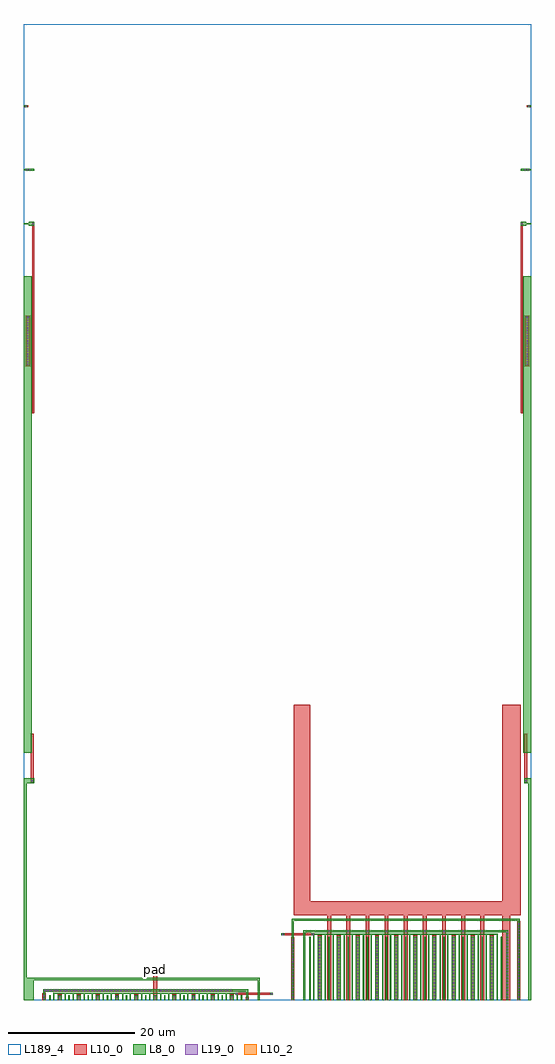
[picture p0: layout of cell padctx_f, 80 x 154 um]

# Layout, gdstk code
import gdstk
lib = gdstk.Library(unit=1e-6, precision=1e-09)
def R(c, l, rs):  # rectangles x0, y0, x1, y1
    for r in rs: c.add(gdstk.rectangle(r[:2], r[2:], *l))
def A(c, l, x, y, w, h, nx, ny, dx, dy):  # array of equal rectangles
    R(c, l, [(x+i*dx, y+j*dy, x+i*dx+w, y+j*dy+h) for i in range(nx) for j in range(ny)])
def P(c, l, *ps):  # polygons
    for p in ps: c.add(gdstk.Polygon(p, *l))
L8_0 = (8, 0)
L10_0 = (10, 0)
L10_2 = (10, 2)
L19_0 = (19, 0)
L189_4 = (189, 4)

padctx_f = lib.new_cell('padctx_f')
A(padctx_f, L8_0, 3.995, 26, 0.21, 0.73, 11, 1, 3.02, 0)
A(padctx_f, L8_0, 5.3, 26, 0.62, 0.73, 10, 1, 3.02, 0)
A(padctx_f, L8_0, 45.025, 26, 0.21, 9.98, 11, 1, 3.02, 0)
A(padctx_f, L8_0, 46.33, 26, 0.62, 9.98, 10, 1, 3.02, 0)
R(padctx_f, L8_0, [(38.82,26.83,39.28,27.13), (40.62,36.2,41.08,36.5), (0,65,1.2,140.17), (78.8,65,80,140.17)])
P(padctx_f, L8_0, [(4.64,26),(4.64,27.11),(33.3,27.11),(33.3,27.15),(33.76,27.15),(33.76,26),(33.6,26),(33.6,26.8),(33.3,26.8),(33.3,26.95),(31.98,26.95),(31.98,26),(31.82,26),(31.82,26.95),(30.74,26.95),(30.74,26),(30.58,26),(30.58,26.95),(28.96,26.95),(28.96,26),(28.8,26),(28.8,26.95),(27.72,26.95),(27.72,26),(27.56,26),(27.56,26.95),(25.94,26.95),(25.94,26),(25.78,26),(25.78,26.95),(24.7,26.95),(24.7,26),(24.54,26),(24.54,26.95),(22.92,26.95),(22.92,26),(22.76,26),(22.76,26.95),(21.68,26.95),(21.68,26),(21.52,26),(21.52,26.95),(19.9,26.95),(19.9,26),(19.74,26),(19.74,26.95),(18.66,26.95),(18.66,26),(18.5,26),(18.5,26.95),(16.88,26.95),(16.88,26),(16.72,26),(16.72,26.95),(15.64,26.95),(15.64,26),(15.48,26),(15.48,26.95),(13.86,26.95),(13.86,26),(13.7,26),(13.7,26.95),(12.62,26.95),(12.62,26),(12.46,26),(12.46,26.95),(10.84,26.95),(10.84,26),(10.68,26),(10.68,26.95),(9.6,26.95),(9.6,26),(9.44,26),(9.44,26.95),(7.82,26.95),(7.82,26),(7.66,26),(7.66,26.95),(6.58,26.95),(6.58,26),(6.42,26),(6.42,26.95),(4.8,26.95),(4.8,26)],
  [(3,26),(3,27.68),(35.4,27.68),(35.4,26),(35.06,26),(35.06,27.34),(3.34,27.34),(3.34,26)],
  [(45.67,26),(45.67,36.18),(45.41,36.18),(45.41,36.52),(45.83,36.52),(45.83,36.47),(74.79,36.47),(74.79,26),(74.63,26),(74.63,36.31),(73.01,36.31),(73.01,26),(72.85,26),(72.85,36.31),(71.77,36.31),(71.77,26),(71.61,26),(71.61,36.31),(69.99,36.31),(69.99,26),(69.83,26),(69.83,36.31),(68.75,36.31),(68.75,26),(68.59,26),(68.59,36.31),(66.97,36.31),(66.97,26),(66.81,26),(66.81,36.31),(65.73,36.31),(65.73,26),(65.57,26),(65.57,36.31),(63.95,36.31),(63.95,26),(63.79,26),(63.79,36.31),(62.71,36.31),(62.71,26),(62.55,26),(62.55,36.31),(60.93,36.31),(60.93,26),(60.77,26),(60.77,36.31),(59.69,36.31),(59.69,26),(59.53,26),(59.53,36.31),(57.91,36.31),(57.91,26),(57.75,26),(57.75,36.31),(56.67,36.31),(56.67,26),(56.51,26),(56.51,36.31),(54.89,36.31),(54.89,26),(54.73,26),(54.73,36.31),(53.65,36.31),(53.65,26),(53.49,26),(53.49,36.31),(51.87,36.31),(51.87,26),(51.71,26),(51.71,36.31),(50.63,36.31),(50.63,26),(50.47,26),(50.47,36.31),(48.85,36.31),(48.85,26),(48.69,26),(48.69,36.31),(47.61,36.31),(47.61,26),(47.45,26),(47.45,36.31),(45.83,36.31),(45.83,26)],
  [(44.03,26),(44.03,37.04),(76.43,37.04),(76.43,26),(76.09,26),(76.09,36.7),(44.37,36.7),(44.37,26)],
  [(42.23,26),(42.23,38.84),(78.23,38.84),(78.23,26),(77.89,26),(77.89,38.5),(42.57,38.5),(42.57,26)],
  [(0,26),(0,61),(1.6,61),(1.6,60.2),(0.4,60.2),(0.4,29.48),(37.2,29.48),(37.2,26),(36.86,26),(36.86,29.14),(1.54,29.14),(1.54,26)],
  [(79.6,26),(79.6,60.2),(78.95,60.2),(78.95,61),(80,61),(80,26)],
  [(0.75,148.2),(0.75,148.42),(0,148.42),(0,148.58),(0.75,148.58),(0.75,148.8),(1.65,148.8),(1.65,148.2)],
  [(78.35,148.2),(78.35,148.8),(79.25,148.8),(79.25,148.58),(80,148.58),(80,148.42),(79.25,148.42),(79.25,148.2)],
  [(0.21,156.855),(0.21,156.92),(0,156.92),(0,157.08),(0.21,157.08),(0.21,157.145),(1.6,157.145),(1.6,156.855)],
  [(78.4,156.855),(78.4,157.145),(79.79,157.145),(79.79,157.08),(80,157.08),(80,156.92),(79.79,156.92),(79.79,156.855)],
  [(0.21,166.855),(0.21,166.92),(0,166.92),(0,167.08),(0.21,167.08),(0.21,167.145),(0.51,167.145),(0.51,166.855)],
  [(79.49,166.855),(79.49,167.145),(79.79,167.145),(79.79,167.08),(80,167.08),(80,166.92),(79.79,166.92),(79.79,166.855)])
A(padctx_f, L10_0, 5.3, 26, 0.62, 0.93, 5, 1, 3.02, 0)
A(padctx_f, L10_0, 23.42, 26, 0.62, 0.93, 4, 1, 3.02, 0)
A(padctx_f, L10_0, 46.33, 26, 0.62, 10.18, 10, 1, 3.02, 0)
R(padctx_f, L10_0, [(2.92,26,3.42,27.08), (20.4,26,21.02,31.18), (34.98,26,35.48,26.48), (42.15,26,42.65,35.88), (77.81,26,78.31,38.48), (33.38,26.83,39.2,27.13), (3,27.3,20.1,27.72), (21.32,27.3,32.9,27.72), (40.7,36.2,45.77,36.5), (1.04,60.3,1.5,68.05), (78.97,60.3,79.43,68.05), (1.3,118.55,1.6,148.8), (78.4,118.55,78.7,148.8), (0.25,126,0.95,134), (79.05,126,79.75,134), (0.25,156.855,1.1,157.145), (78.9,156.855,79.75,157.145), (0.1,166.855,0.7,167.145), (79.3,166.855,79.9,167.145)])
P(padctx_f, L10_0, [(47.85,26),(47.85,39.4),(42.6,39.4),(42.6,72.55),(45.2,72.55),(45.2,41.6),(75.5,41.6),(75.5,72.55),(78.4,72.55),(78.4,39.4),(76.76,39.4),(76.76,26),(75.5,26),(75.5,39.4),(72.61,39.4),(72.61,26),(72.01,26),(72.01,39.4),(69.59,39.4),(69.59,26),(68.99,26),(68.99,39.4),(66.57,39.4),(66.57,26),(65.97,26),(65.97,39.4),(63.55,39.4),(63.55,26),(62.95,26),(62.95,39.4),(60.53,39.4),(60.53,26),(59.93,26),(59.93,39.4),(57.51,39.4),(57.51,26),(56.91,26),(56.91,39.4),(54.49,39.4),(54.49,26),(53.89,26),(53.89,39.4),(51.47,39.4),(51.47,26),(50.87,26),(50.87,39.4),(48.45,39.4),(48.45,26)])
R(padctx_f, L10_2, [(20.4,30.58,21.02,31.18)])
A(padctx_f, L19_0, 5.515, 26, 0.19, 0.125, 10, 1, 3.02, 0)
A(padctx_f, L19_0, 46.545, 26.085, 0.19, 0.19, 10, 20, 3.02, 0.5)
A(padctx_f, L19_0, 76.165, 26.085, 0.19, 0.19, 1, 22, 0, 0.5)
A(padctx_f, L19_0, 42.305, 26.385, 0.19, 0.19, 1, 19, 0, 0.5)
A(padctx_f, L19_0, 77.965, 26.385, 0.19, 0.19, 1, 24, 0, 0.5)
A(padctx_f, L19_0, 5.515, 26.435, 0.19, 0.19, 10, 1, 3.02, 0)
A(padctx_f, L19_0, 3.205, 27.415, 0.19, 0.19, 34, 1, 0.5, 0)
A(padctx_f, L19_0, 21.515, 27.415, 0.19, 0.19, 23, 1, 0.5, 0)
A(padctx_f, L19_0, 48.055, 36.775, 0.19, 0.19, 9, 1, 3.02, 0)
A(padctx_f, L19_0, 0.505, 126.205, 0.19, 0.19, 1, 19, 0, 0.41)
A(padctx_f, L19_0, 79.305, 126.205, 0.19, 0.19, 1, 19, 0, 0.41)
R(padctx_f, L19_0, [(42.305,26,42.495,26.075), (77.965,26,78.155,26.075), (3.075,26.085,3.265,26.275), (35.135,26.085,35.325,26.275), (3.075,26.585,3.265,26.775), (33.435,26.885,33.625,27.075), (38.955,26.885,39.145,27.075), (40.755,36.255,40.945,36.445), (45.525,36.255,45.715,36.445), (1.175,60.505,1.365,60.695), (79.105,60.505,79.295,60.695), (1.355,148.405,1.545,148.595), (78.455,148.405,78.645,148.595), (0.355,156.905,0.545,157.095), (0.805,156.905,0.995,157.095), (79.005,156.905,79.195,157.095), (79.455,156.905,79.645,157.095), (0.265,166.905,0.455,167.095), (79.545,166.905,79.735,167.095)])
R(padctx_f, L189_4, [(0,26,80,180)])
padctx_f.add(gdstk.Label('pad', (20.71,30.88), layer=10, texttype=25))

lib.write_gds('padctx_f.gds')
